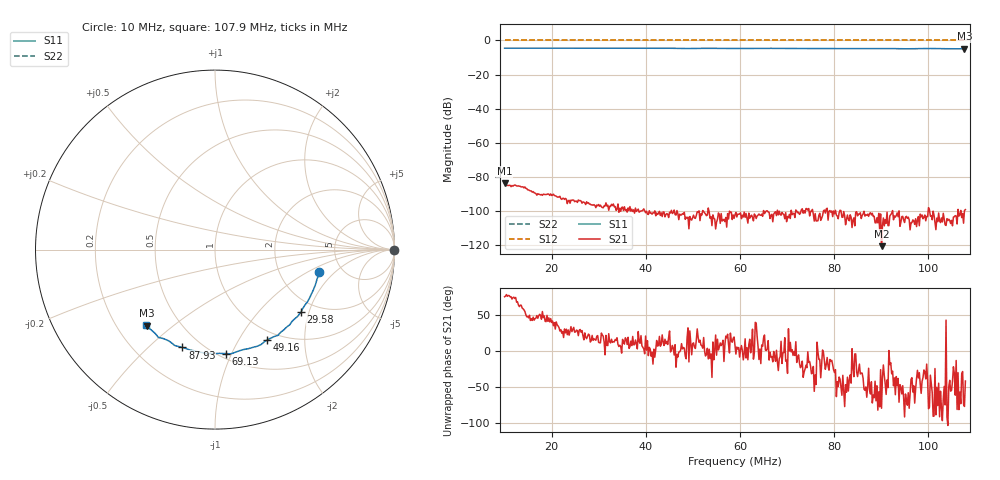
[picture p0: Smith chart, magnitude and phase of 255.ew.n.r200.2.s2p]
! Anritsu VNA Master:  Model: MS2036C/10/77
! SN:  1601066
! /card0/usr/255.ew.n.r200.2.s2p
! Existing Calibration Information:
! TYPE:  Current Settings,  Active Cal Settings
! TIME:  12/17/2017 06:57:46 PM,  12/17/2017 06:38:14 PM
! INTERNAL TEMP:  42.3 C,  43.8 C
! # POINTS:  501,  501
! START FREQ:  10.000 MHz,  10.000 MHz
! STOP FREQ:  107.903 125 MHz,  107.903 125 MHz
! SOURCE POWER:  High,  High
! IFBW:  100 Hz,  100 Hz
! AVG FACTOR:  1 ,  1
! REF PLANE 1:  0 mm,  0 mm
! REF PLANE 2:  0 mm,  0 mm
! CAL TYPE:  Full S11,  Full S11
! CAL METHOD:  SOLT,  SOLT
! CAL LINE TYPE:  Coax,  Coax
! DUT PORT 1:  N-Conn(F),  N-Conn(F)
! DUT PORT 2:  K-Conn(F),  K-Conn(F)
! CAL STATUS:  OK: Accuracy High,  --
# GHZ S DB R 50.0
! FREQ.GHZ  S11DB  S11A  S21DB  S21A  S12DB  S12A  S22DB  S22A
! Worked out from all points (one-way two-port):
!   501 points, 10 MHz to 107.9 MHz, reference 50 ohm
!   highest |S21| = -83.64 dB at 10 MHz (marker M1); lowest = -120.5 dB at 90.08 MHz (marker M2)
!   lowest |S11| = -4.9 dB at 107.7 MHz (marker M3), VSWR 3.65, Z = 16.2 - j20.3 ohm
!   |S11| at or under -10 dB: nowhere
!   |S22| runs from 0.0 to 0.0 dB; largest |S21 - S12| = 1
!   S11 on the Smith chart (normalised r, x): 10 MHz: 3.37, -1.31; 29.58 MHz: 1.65, -1.77; 49.16 MHz: 0.88, -1.33; 69.13 MHz: 0.54, -0.95; 87.93 MHz: 0.40, -0.64; 107.9 MHz: 0.32, -0.40
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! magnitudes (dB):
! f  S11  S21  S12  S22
! 10 MHz  -4.5  -83.6  0.0  0.0
! 26.45 MHz  -4.6  -95.4  0.0  0.0
! 29.58 MHz  -4.5  -96.4  0.0  0.0
! 35.06 MHz  -4.6  -97.6  0.0  0.0
! 42.7 MHz  -4.6  -101.4  0.0  0.0
! 44.46 MHz  -4.5  -101.4  0.0  0.0
! 49.16 MHz  -4.7  -110.3  0.0  0.0
! 52.29 MHz  -4.6  -100.3  0.0  0.0
! 59.15 MHz  -4.7  -100.8  0.0  0.0
! 61.69 MHz  -4.7  -107.0  0.0  0.0
! 66.59 MHz  -4.6  -102.4  0.0  0.0
! 69.13 MHz  -4.7  -101.6  0.0  0.0
! 71.87 MHz  -4.8  -99.3  0.0  0.0
! 75.4 MHz  -4.7  -99.0  0.0  0.0
! 87.93 MHz  -4.8  -102.2  0.0  0.0
! 90.08 MHz  -4.8  -120.5  0.0  0.0
! 91.65 MHz  -4.7  -108.5  0.0  0.0
! 95.37 MHz  -4.9  -103.0  0.0  0.0
! 99.88 MHz  -4.7  -103.2  0.0  0.0
! 103.4 MHz  -4.8  -104.8  0.0  0.0
! 107.7 MHz  -4.9  -99.6  0.0  0.0
! 107.9 MHz  -4.9  -99.1  0.0  0.0
